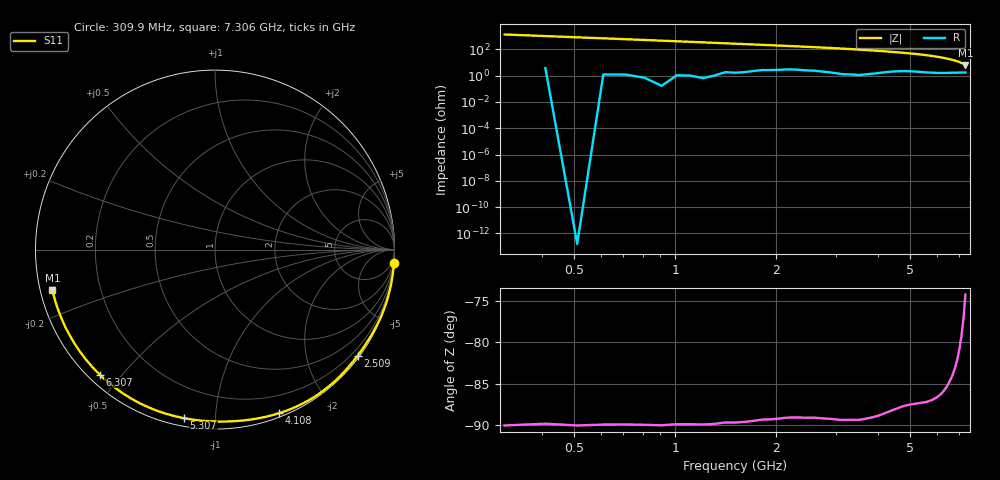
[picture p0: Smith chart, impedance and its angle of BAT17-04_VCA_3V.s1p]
! Infineon Technologies  Discrete & RF Semiconductors
! BAT17-04
! VCA = 3 V
! One-Port S-Parameters
# Hz  S  MA  R  50
!f  S11
!Hz  Mag  Ang
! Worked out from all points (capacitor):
!   71 points, 309.9 MHz to 7.306 GHz, reference 50 ohm
!   read as one part to ground: C = 383 fF near 309.9 MHz
!   lowest |Z| = 6.4 ohm at 7.306 GHz (marker M1)
!   S11 on the Smith chart (normalised r, x): 309.9 MHz: -0, -27; 2.509 GHz: 0.05, -3.02; 4.108 GHz: 0.03, -1.46; 5.307 GHz: 0.04, -0.83; 6.307 GHz: 0.03, -0.44; 7.306 GHz: 0.03, -0.12
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3.0985e8  1 -4.3
8.096e8  0.9997 -11.2
1.2094e9  0.9994 -16.9
1.6092e9  0.9971 -22.8
2.10895e9  0.992 -30.4
2.50875e9  0.9904 -36.6
2.70865e9  0.9903 -39.9
3.0085e9  0.991 -45.3
3.2084e9  0.9913 -49.1
3.4083e9  0.9906 -53.2
3.6082e9  0.9892 -57.4
3.8081e9  0.9858 -61.9
4.10795e9  0.9789 -68.8
4.4078e9  0.97 -76.1
4.70765e9  0.9618 -83.7
5.0075e9  0.957 -91.8
5.30735e9  0.9551 -100.4
5.4073e9  0.9546 -103.4
5.6072e9  0.9544 -109.6
5.8071e9  0.9534 -116.1
6.007e9  0.9515 -122.7
6.2069e9  0.9493 -129.4
6.30685e9  0.9475 -132.7
6.50675e9  0.9446 -139.4
6.70665e9  0.9416 -146.1
6.90655e9  0.9389 -152.7
7.10645e9  0.936 -159.4
7.30635e9  0.9338 -165.9
